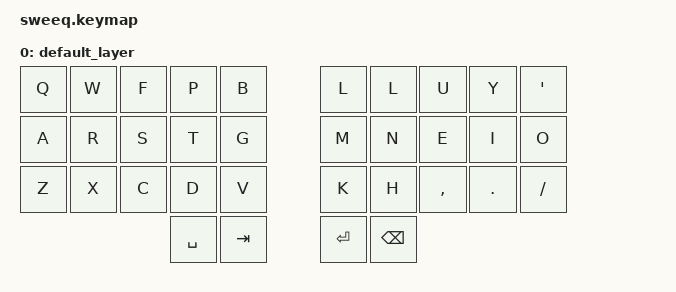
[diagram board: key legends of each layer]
#include <behaviors.dtsi>
#include <dt-bindings/zmk/keys.h>
#include <dt-bindings/zmk/bt.h> 


/ {
    keymap {
        compatible = "zmk,keymap";

        default_layer { // Layer 0
            bindings = <
                &kp Q &kp W &kp F &kp P &kp B &kp L &kp L &kp U &kp Y &kp SQT
                &kp A &kp R &kp S &kp T &kp G &kp M &kp N &kp E &kp I &kp O
                &kp Z &kp X &kp C &kp D &kp V &kp K &kp H &kp COMMA &kp DOT &kp FSLH
                         &kp SPACE &kp TAB &kp RET &kp BSPC
            >;
        };
    };
};
